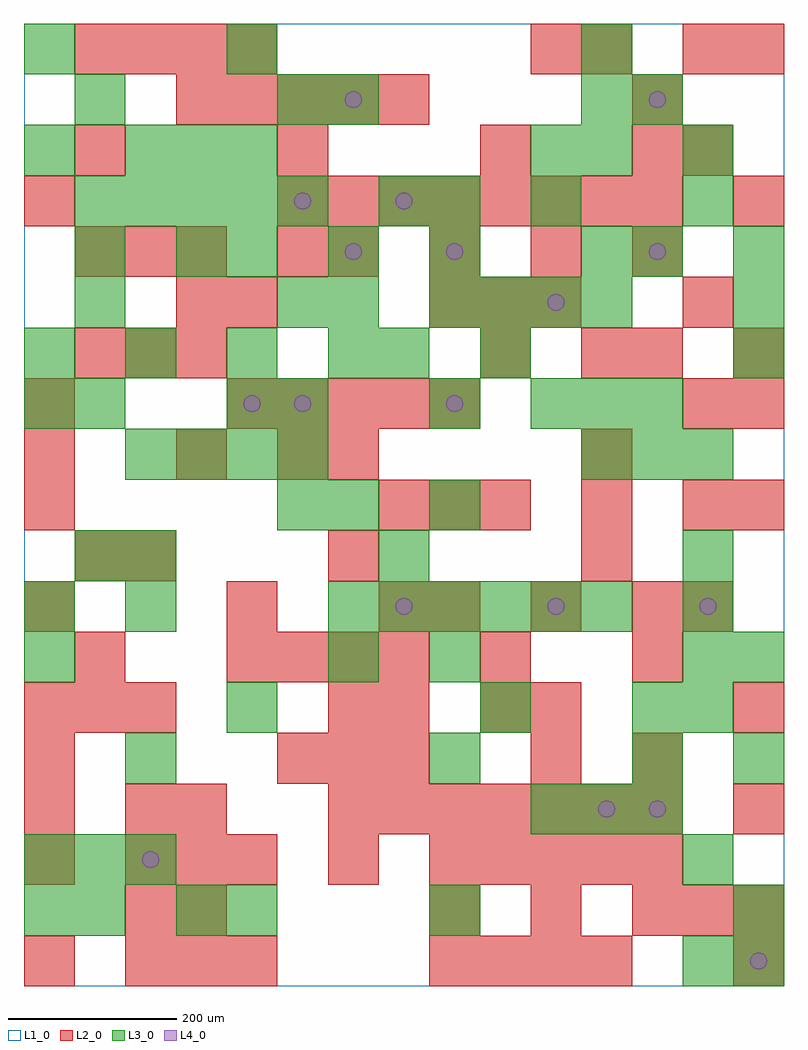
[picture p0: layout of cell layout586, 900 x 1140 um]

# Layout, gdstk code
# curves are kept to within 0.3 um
import gdstk
lib = gdstk.Library(unit=1e-6, precision=1e-09)
def R(c, l, rs):  # rectangles x0, y0, x1, y1
    for r in rs: c.add(gdstk.rectangle(r[:2], r[2:], *l))
def A(c, l, x, y, w, h, nx, ny, dx, dy):  # array of equal rectangles
    R(c, l, [(x+i*dx, y+j*dy, x+i*dx+w, y+j*dy+h) for i in range(nx) for j in range(ny)])
def P(c, l, *ps):  # polygons
    for p in ps: c.add(gdstk.Polygon(p, *l))
L1_0 = (1, 0)
L2_0 = (2, 0)
L3_0 = (3, 0)
L4_0 = (4, 0)

layout586 = lib.new_cell('layout586')
R(layout586, L1_0, [(0,0,900,1140)])
A(layout586, L2_0, 120, 0, 60, 60, 3, 2, 60, 120)
A(layout586, L2_0, 480, 0, 60, 60, 4, 1, 60, 0)
A(layout586, L2_0, 480, 60, 60, 60, 3, 2, 120, 360)
A(layout586, L2_0, 840, 60, 60, 60, 1, 3, 0, 120)
A(layout586, L2_0, 0, 120, 60, 60, 1, 3, 0, 60)
A(layout586, L2_0, 360, 120, 60, 60, 1, 3, 0, 180)
A(layout586, L2_0, 480, 120, 60, 60, 5, 1, 60, 0)
A(layout586, L2_0, 360, 180, 60, 60, 7, 1, 60, 0)
A(layout586, L2_0, 300, 240, 60, 60, 3, 1, 60, 0)
A(layout586, L2_0, 0, 300, 60, 60, 3, 1, 60, 0)
A(layout586, L2_0, 240, 360, 60, 60, 4, 1, 60, 0)
A(layout586, L2_0, 780, 420, 60, 60, 1, 4, 0, 120)
A(layout586, L2_0, 660, 480, 60, 60, 1, 3, 0, 60)
A(layout586, L2_0, 0, 540, 60, 60, 1, 3, 0, 60)
A(layout586, L2_0, 420, 540, 60, 60, 3, 1, 60, 0)
A(layout586, L2_0, 240, 660, 60, 60, 5, 1, 60, 0)
A(layout586, L2_0, 60, 720, 60, 60, 3, 2, 60, 120)
A(layout586, L2_0, 840, 720, 60, 60, 1, 3, 0, 180)
A(layout586, L2_0, 480, 780, 60, 60, 3, 1, 60, 0)
A(layout586, L2_0, 360, 840, 60, 60, 4, 1, 120, 0)
A(layout586, L2_0, 300, 900, 60, 60, 8, 1, 60, 0)
A(layout586, L2_0, 60, 960, 60, 60, 3, 1, 240, 0)
A(layout586, L2_0, 180, 1020, 60, 60, 5, 1, 60, 0)
A(layout586, L2_0, 60, 1080, 60, 60, 4, 1, 60, 0)
R(layout586, L2_0, [(0,0,60,60), (840,0,900,60), (120,60,180,120), (180,60,240,120), (780,60,840,120), (120,180,180,240), (180,180,240,240), (600,240,660,300), (720,240,780,300), (420,300,480,360), (540,300,600,360), (600,300,660,360), (60,360,120,420), (540,360,600,420), (720,360,780,420), (0,420,60,480), (240,420,300,480), (420,420,480,480), (60,480,120,540), (120,480,180,540), (840,540,900,600), (180,600,240,660), (300,600,360,660), (360,600,420,660), (840,660,900,720), (540,720,600,780), (660,720,720,780), (720,720,780,780), (180,780,240,840), (240,780,300,840), (300,840,360,900), (0,900,60,960), (720,960,780,1020), (780,960,840,1020), (720,1020,780,1080), (600,1080,660,1140), (660,1080,720,1140), (780,1080,840,1140)])
A(layout586, L3_0, 0, 120, 60, 60, 3, 1, 60, 0)
A(layout586, L3_0, 600, 180, 60, 60, 3, 2, 60, 480)
A(layout586, L3_0, 780, 300, 60, 60, 1, 4, 0, 60)
A(layout586, L3_0, 360, 420, 60, 60, 6, 1, 60, 0)
A(layout586, L3_0, 300, 540, 60, 60, 1, 3, 0, 120)
A(layout586, L3_0, 360, 540, 60, 60, 1, 3, 0, 240)
A(layout586, L3_0, 120, 600, 60, 60, 4, 1, 60, 0)
A(layout586, L3_0, 660, 600, 60, 60, 3, 1, 60, 0)
A(layout586, L3_0, 0, 720, 60, 60, 4, 1, 120, 0)
A(layout586, L3_0, 840, 720, 60, 60, 1, 3, 0, 60)
A(layout586, L3_0, 480, 780, 60, 60, 4, 1, 60, 0)
A(layout586, L3_0, 240, 840, 60, 60, 3, 1, 120, 0)
A(layout586, L3_0, 60, 900, 60, 60, 5, 1, 60, 0)
A(layout586, L3_0, 120, 960, 60, 60, 3, 1, 60, 0)
A(layout586, L3_0, 660, 960, 60, 60, 1, 3, 0, 60)
R(layout586, L3_0, [(780,0,840,60), (840,0,900,60), (0,60,60,120), (60,60,120,120), (180,60,240,120), (240,60,300,120), (480,60,540,120), (840,60,900,120), (780,120,840,180), (120,240,180,300), (480,240,540,300), (720,240,780,300), (840,240,900,300), (240,300,300,360), (540,300,600,360), (720,300,780,360), (0,360,60,420), (360,360,420,420), (480,360,540,420), (840,360,900,420), (0,420,60,480), (120,420,180,480), (60,480,120,540), (120,480,180,540), (420,480,480,540), (480,540,540,600), (0,660,60,720), (60,660,120,720), (240,660,300,720), (480,660,540,720), (420,720,480,780), (540,720,600,780), (60,780,120,840), (60,840,120,900), (180,840,240,900), (660,840,720,900), (720,840,780,900), (420,900,480,960), (480,900,540,960), (600,900,660,960), (780,900,840,960), (0,960,60,1020), (600,960,660,1020), (780,960,840,1020), (60,1020,120,1080), (300,1020,360,1080), (720,1020,780,1080), (0,1080,60,1140), (240,1080,300,1140)])
P(layout586, L4_0, [(160,150),(159.239,153.827),(157.071,157.071),(153.827,159.239),(150,160),(146.173,159.239),(142.929,157.071),(140.761,153.827),(140,150),(140.761,146.173),(142.929,142.929),(146.173,140.761),(150,140),(153.827,140.761),(157.071,142.929),(159.239,146.173)],
  [(280,690),(279.239,693.827),(277.071,697.071),(273.827,699.239),(270,700),(266.173,699.239),(262.929,697.071),(260.761,693.827),(260,690),(260.761,686.173),(262.929,682.929),(266.173,680.761),(270,680),(273.827,680.761),(277.071,682.929),(279.239,686.173)],
  [(340,690),(339.239,693.827),(337.071,697.071),(333.827,699.239),(330,700),(326.173,699.239),(322.929,697.071),(320.761,693.827),(320,690),(320.761,686.173),(322.929,682.929),(326.173,680.761),(330,680),(333.827,680.761),(337.071,682.929),(339.239,686.173)],
  [(340,930),(339.239,933.827),(337.071,937.071),(333.827,939.239),(330,940),(326.173,939.239),(322.929,937.071),(320.761,933.827),(320,930),(320.761,926.173),(322.929,922.929),(326.173,920.761),(330,920),(333.827,920.761),(337.071,922.929),(339.239,926.173)],
  [(400,870),(399.239,873.827),(397.071,877.071),(393.827,879.239),(390,880),(386.173,879.239),(382.929,877.071),(380.761,873.827),(380,870),(380.761,866.173),(382.929,862.929),(386.173,860.761),(390,860),(393.827,860.761),(397.071,862.929),(399.239,866.173)],
  [(400,1050),(399.239,1053.827),(397.071,1057.071),(393.827,1059.239),(390,1060),(386.173,1059.239),(382.929,1057.071),(380.761,1053.827),(380,1050),(380.761,1046.173),(382.929,1042.929),(386.173,1040.761),(390,1040),(393.827,1040.761),(397.071,1042.929),(399.239,1046.173)],
  [(460,450),(459.239,453.827),(457.071,457.071),(453.827,459.239),(450,460),(446.173,459.239),(442.929,457.071),(440.761,453.827),(440,450),(440.761,446.173),(442.929,442.929),(446.173,440.761),(450,440),(453.827,440.761),(457.071,442.929),(459.239,446.173)],
  [(460,930),(459.239,933.827),(457.071,937.071),(453.827,939.239),(450,940),(446.173,939.239),(442.929,937.071),(440.761,933.827),(440,930),(440.761,926.173),(442.929,922.929),(446.173,920.761),(450,920),(453.827,920.761),(457.071,922.929),(459.239,926.173)],
  [(520,690),(519.239,693.827),(517.071,697.071),(513.827,699.239),(510,700),(506.173,699.239),(502.929,697.071),(500.761,693.827),(500,690),(500.761,686.173),(502.929,682.929),(506.173,680.761),(510,680),(513.827,680.761),(517.071,682.929),(519.239,686.173)],
  [(520,870),(519.239,873.827),(517.071,877.071),(513.827,879.239),(510,880),(506.173,879.239),(502.929,877.071),(500.761,873.827),(500,870),(500.761,866.173),(502.929,862.929),(506.173,860.761),(510,860),(513.827,860.761),(517.071,862.929),(519.239,866.173)],
  [(640,450),(639.239,453.827),(637.071,457.071),(633.827,459.239),(630,460),(626.173,459.239),(622.929,457.071),(620.761,453.827),(620,450),(620.761,446.173),(622.929,442.929),(626.173,440.761),(630,440),(633.827,440.761),(637.071,442.929),(639.239,446.173)],
  [(640,810),(639.239,813.827),(637.071,817.071),(633.827,819.239),(630,820),(626.173,819.239),(622.929,817.071),(620.761,813.827),(620,810),(620.761,806.173),(622.929,802.929),(626.173,800.761),(630,800),(633.827,800.761),(637.071,802.929),(639.239,806.173)],
  [(700,210),(699.239,213.827),(697.071,217.071),(693.827,219.239),(690,220),(686.173,219.239),(682.929,217.071),(680.761,213.827),(680,210),(680.761,206.173),(682.929,202.929),(686.173,200.761),(690,200),(693.827,200.761),(697.071,202.929),(699.239,206.173)],
  [(760,210),(759.239,213.827),(757.071,217.071),(753.827,219.239),(750,220),(746.173,219.239),(742.929,217.071),(740.761,213.827),(740,210),(740.761,206.173),(742.929,202.929),(746.173,200.761),(750,200),(753.827,200.761),(757.071,202.929),(759.239,206.173)],
  [(760,870),(759.239,873.827),(757.071,877.071),(753.827,879.239),(750,880),(746.173,879.239),(742.929,877.071),(740.761,873.827),(740,870),(740.761,866.173),(742.929,862.929),(746.173,860.761),(750,860),(753.827,860.761),(757.071,862.929),(759.239,866.173)],
  [(760,1050),(759.239,1053.827),(757.071,1057.071),(753.827,1059.239),(750,1060),(746.173,1059.239),(742.929,1057.071),(740.761,1053.827),(740,1050),(740.761,1046.173),(742.929,1042.929),(746.173,1040.761),(750,1040),(753.827,1040.761),(757.071,1042.929),(759.239,1046.173)],
  [(820,450),(819.239,453.827),(817.071,457.071),(813.827,459.239),(810,460),(806.173,459.239),(802.929,457.071),(800.761,453.827),(800,450),(800.761,446.173),(802.929,442.929),(806.173,440.761),(810,440),(813.827,440.761),(817.071,442.929),(819.239,446.173)],
  [(880,30),(879.239,33.827),(877.071,37.071),(873.827,39.239),(870,40),(866.173,39.239),(862.929,37.071),(860.761,33.827),(860,30),(860.761,26.173),(862.929,22.929),(866.173,20.761),(870,20),(873.827,20.761),(877.071,22.929),(879.239,26.173)])

lib.write_gds('layout586.gds')
